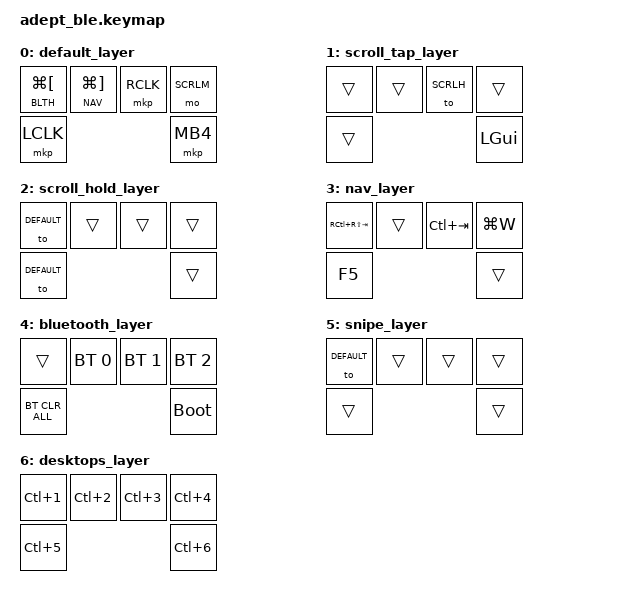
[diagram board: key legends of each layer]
#include <behaviors/mouse_keys.dtsi>
#include <behaviors.dtsi>
#include <dt-bindings/zmk/bt.h>
#include <dt-bindings/zmk/keys.h>
#include <dt-bindings/zmk/mouse.h>
#include <dt-bindings/zmk/outputs.h>

#define DEFAULT 0
#define SCRLM 1
#define SCRLH 2
#define NAV 3
#define BLTH 4
#define SNIPE 5
#define DESKTOPS 6

&sl {
    release-after-ms = <2000>;
};

/ {
  combos {
    compatible = "zmk,combos";
    combo_mclick {
      timeout-ms = <50>;
      key-positions = <2 3>;
      bindings = <&mkp MCLK>;
    };
    combo_snipe {
      timeout-ms = <50>;
      key-positions = <0 1>;
      bindings = <&to SNIPE>;
    };
    combo_desktops {
      timeout-ms = <50>;
      key-positions = <4 5>;
      bindings = <&sl DESKTOPS>;
    };
  };
  behaviors {
    ltm: layer-tap-or-mouse {
      compatible = "zmk,behavior-hold-tap";
      #binding-cells = <2>;
      flavor = "tap-preferred";
      tapping-term-ms = <200>;
      bindings = <&mo>, <&mkp>;
    };
    ltk: layer-tap-or-key {
      compatible = "zmk,behavior-hold-tap";
      #binding-cells = <2>;
      flavor = "tap-preferred";
      tapping-term-ms = <200>;
      bindings = <&mo>, <&kp>;
    };
    lhm: layer-tap-hold-or-mouse {
      compatible = "zmk,behavior-hold-tap";
      #binding-cells = <2>;
      flavor = "hold-preferred";
      hold-while-undecided;
      tapping-term-ms = <150>;
      bindings = <&mo>, <&mkp>;
    };
    lhk: layer-tap-hold-or-key {
      compatible = "zmk,behavior-hold-tap";
      #binding-cells = <2>;
      flavor = "hold-preferred";
      hold-while-undecided;
      tapping-term-ms = <150>;
      bindings = <&mo>, <&kp>;
    };
    mto: momentary-and-toggle {
      compatible = "zmk,behavior-hold-tap";
      #binding-cells = <2>;
      flavor = "hold-preferred";
      hold-while-undecided;
      tapping-term-ms = <200>;
      bindings = <&mo>, <&to>;
    };
  };
  keymap {
    compatible = "zmk,keymap";
    default_layer {
      bindings = <
        &ltk BLTH LG(LBKT) &ltk NAV LG(RBKT) &mkp RCLK &mo SCRLM
        &mkp LCLK                                           &mkp MB4
      >;
    };
    scroll_tap_layer {
      bindings = <
        &trans  &trans &to SCRLH &trans
        &trans                      &kp LGUI
      >;
    };
    scroll_hold_layer {
      bindings = <
        &to DEFAULT      &trans &trans &trans
        &to DEFAULT               &trans
      >;
    };
    nav_layer {
      bindings = <
        &kp RC(RS(TAB)) &trans &kp LC(TAB) &kp LG(W)
          &kp F5                             &trans 
      >;
    };
    bluetooth_layer {
      bindings = <
        &trans &bt BT_SEL 0 &bt BT_SEL 1 &bt BT_SEL 2
        &bt BT_CLR_ALL                     &bootloader
      >;
    };
    snipe_layer {
      bindings = <
        &to DEFAULT &trans &trans &trans
        &trans                    &trans
      >;
    };
    desktops_layer {
      bindings = <
        &kp LC(NUM_1) &kp LC(NUM_2) &kp LC(NUM_3) &kp LC(NUM_4)
        &kp LC(NUM_5)               &kp LC(NUM_6)
      >;
    };
  };
};
